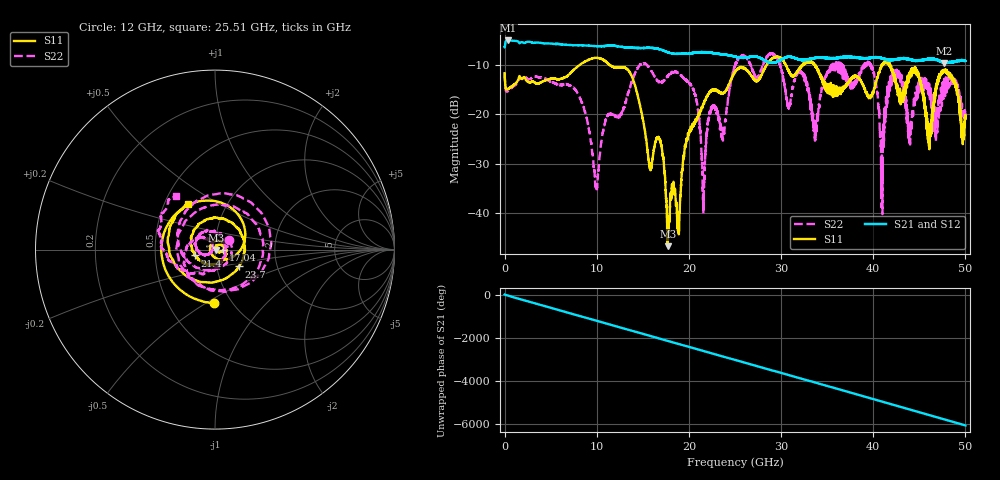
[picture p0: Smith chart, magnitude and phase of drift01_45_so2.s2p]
!Created with skrf (http://scikit-rf.org).
# Hz S RI R 50.0
!freq ReS11 ImS11 ReS21 ImS21 ReS12 ImS12 ReS22 ImS22
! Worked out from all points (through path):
!   10001 points, 300 kHz to 50 GHz, reference 50 ohm
!   highest |S21| = -5.06 dB at 400.3 MHz (marker M1); lowest = -9.7 dB at 47.67 GHz (marker M2)
!   group delay of S21, straight-line fit = 336 ps
!   lowest |S11| = -46.7 dB at 17.7 GHz (marker M3), VSWR 1.01, Z = 50.4 - j0.15 ohm
!   |S11| at or under -10 dB: start of sweep to 8.153 GHz; 11.41 GHz to 28.44 GHz (17.02 GHz wide, 85.4 % of centre); 41.8 GHz to end of sweep (the widest 3 of 16)
!   |S22| runs from -40.2 to -7.6 dB; largest |S21 - S12| = 0.015
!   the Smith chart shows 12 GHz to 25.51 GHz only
!   S11 on the Smith chart (normalised r, x): 12 GHz: 0.83, -0.54; 17.04 GHz: 1.10, -0.01; 21.4 GHz: 0.80, -0.05; 23.7 GHz: 1.28, -0.25; 25.51 GHz: 0.66, +0.37
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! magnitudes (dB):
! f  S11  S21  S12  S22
! 300 kHz  -11.7  -6.4  -6.5  -11.7
! 400.3 MHz  -14.8  -5.1  -5.1  -15.2
! 8.335 GHz  -9.8  -6.0  -6.0  -17.5
! 9.935 GHz  -8.6  -6.2  -6.2  -34.3
! 12 GHz  -10.5  -6.1  -6.1  -20.4
! 15.78 GHz  -31.0  -6.6  -6.5  -10.8
! 16.67 GHz  -24.6  -6.8  -6.8  -13.4
! 17.04 GHz  -26.6  -7.0  -7.0  -13.6
! 17.7 GHz  -46.7  -7.5  -7.4  -12.3
! 20.47 GHz  -22.3  -7.6  -7.6  -15.1
! 21.4 GHz  -18.7  -7.4  -7.4  -28.8
! 23.7 GHz  -15.8  -7.9  -7.9  -24.9
! 25 GHz  -11.4  -8.3  -8.4  -10.3
! 25.51 GHz  -10.6  -8.5  -8.5  -8.7
! 33.34 GHz  -9.5  -8.7  -8.7  -20.0
! 39.49 GHz  -16.5  -8.6  -8.6  -10.0
! 40.95 GHz  -10.0  -8.7  -8.7  -26.5
! 41.67 GHz  -9.9  -8.9  -9.0  -14.9
! 44.77 GHz  -11.2  -9.1  -9.1  -14.5
! 46.08 GHz  -25.7  -8.8  -8.8  -14.9
! 47.67 GHz  -11.3  -9.7  -9.5  -14.3
! 50 GHz  -20.9  -9.2  -9.2  -20.4
